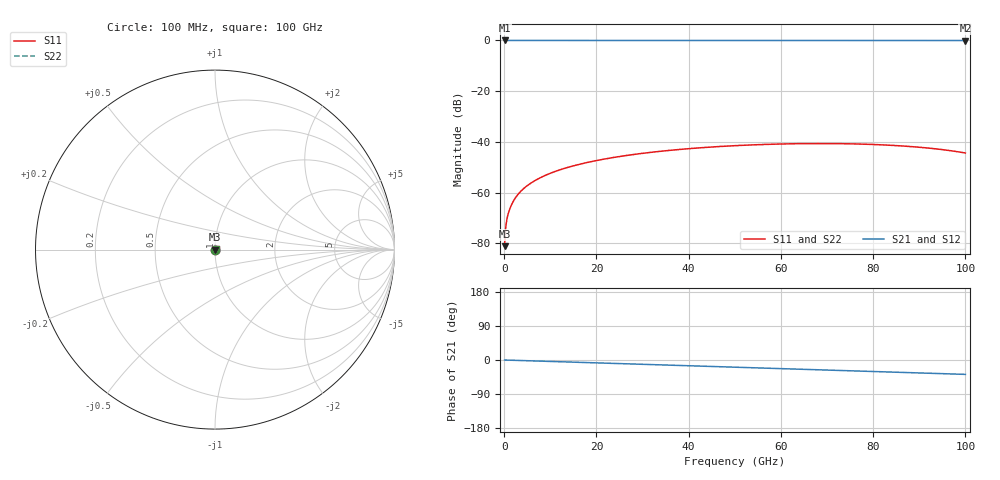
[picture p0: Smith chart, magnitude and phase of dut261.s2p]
! Touchstone file exported from HFSS 2026.1.0
!  File:  C:/ffzhzh/LocalFiles/Ansys_Project_Files/temp_train_TSV_261_1783508486_9504.aedt
!  Generated:  07:02:38 PM Jul  8, 2026
!  Design:  TSV
!  Project:  temp_train_TSV_261_1783508486_9504
! Variables:
!  h_bsmrdl = 2um
!  h_ox = 20um
!  h_rdl = 5um
!  h_sub = 71.38um
!  h_tmrdl = 5um
!  h_tsv = 71.38um
!  h_via = 3um
!  l_bsmrdl = 300um
!  l_sub = 429.34um
!  l_tmrdl = 200um
!  m_sub = 200um
!  pitch = 59.94um
!  r_tsv = 14.67um
!  s_tmrdl = 10um
!  w_bsmrdl = 18um
!  w_sub = 500um
!  w_tmrdl = 12um
!  x_tsv_center1 = 206um
!  x_tsv_center2 = 524um
!  x_tsv_center3 = 736um
!  x_tsv_center4 = 1054um
!  x_tsv_center5 = 1266um
!  x_tsv_center6 = 1584um
# GHz S MA R 50.000000
! Terminal data exported
! Port[1] = TSV1_1_T1
! Port[2] = TSV1_1_T2
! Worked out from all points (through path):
!   1000 points, 100 MHz to 100 GHz, reference 50 ohm
!   highest |S21| = 0.00 dB at 100 MHz (marker M1); lowest = 0.0 dB at 100 GHz (marker M2)
!   group delay of S21, straight-line fit = 1.05 ps
!   lowest |S11| = -81.1 dB at 100 MHz (marker M3), VSWR 1.00, Z = 50 + j0.00571 ohm
!   |S11| at or under -10 dB: start of sweep to end of sweep
!   |S22| runs from -81.1 to -40.6 dB; largest |S21 - S12| = 1.8e-15
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0.1  8.781e-05 40.6  0.9999 -0.0  0.9999 -0.0  8.781e-05 40.6
! Gamma 0 0 0 0
! Port Impedance 50 0 50 0
0.4  0.0002269 58.9  0.9999 -0.2  0.9999 -0.2  0.0002269 58.9
0.8  0.0003614 60.3  0.9998 -0.3  0.9998 -0.3  0.0003614 60.3
1.1  0.0004446 61.8  0.9998 -0.4  0.9998 -0.4  0.0004446 61.8
1.4  0.0005241 63.2  0.9998 -0.5  0.9998 -0.5  0.0005241 63.2
1.9  0.0006529 65.1  0.9997 -0.7  0.9997 -0.7  0.0006529 65.1
2.5  0.0008019 66.6  0.9997 -1.0  0.9997 -1.0  0.0008019 66.6
3.2  0.000968 67.7  0.9997 -1.2  0.9997 -1.2  0.000968 67.7
4  0.00115 68.6  0.9996 -1.5  0.9996 -1.5  0.00115 68.6
6.2  0.001624 70.2  0.9995 -2.4  0.9995 -2.4  0.001624 70.2
9  0.002203 71.1  0.9994 -3.4  0.9994 -3.4  0.002203 71.1
12.5  0.002892 71.3  0.9993 -4.7  0.9993 -4.7  0.002893 71.3
16.8  0.003703 71.0  0.9992 -6.3  0.9992 -6.3  0.003704 71.0
24.3  0.005027 69.7  0.999 -9.2  0.999 -9.2  0.005027 69.7
33.4  0.006454 67.3  0.9988 -12.6  0.9988 -12.6  0.006455 67.3
41.4  0.007517 64.9  0.9987 -15.6  0.9987 -15.6  0.007518 64.8
50.1  0.008426 61.9  0.9985 -18.9  0.9985 -18.9  0.008428 61.8
66.7  0.009269 55.6  0.9983 -25.2  0.9983 -25.2  0.009272 55.4
75.4  0.009141 51.9  0.9981 -28.5  0.9981 -28.5  0.009145 51.7
83.4  0.008612 48.2  0.998 -31.6  0.998 -31.6  0.008617 48.0
92.3  0.007499 43.5  0.9978 -35.0  0.9978 -35.0  0.007506 43.2
100  0.006035 38.5  0.9976 -38.0  0.9976 -38.0  0.006045 38.0
